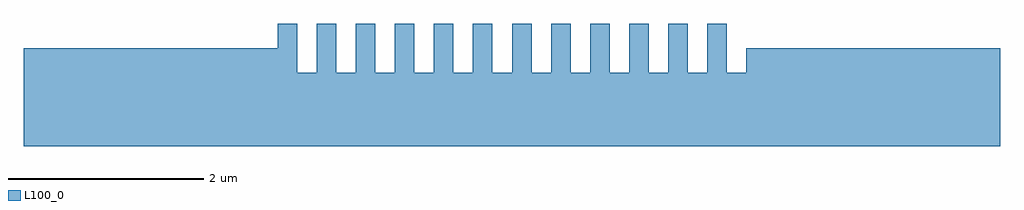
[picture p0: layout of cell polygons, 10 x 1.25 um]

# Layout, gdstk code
import gdstk
lib = gdstk.Library(unit=1e-6, precision=1e-09)
def R(c, l, rs):  # rectangles x0, y0, x1, y1
    for r in rs: c.add(gdstk.rectangle(r[:2], r[2:], *l))
def A(c, l, x, y, w, h, nx, ny, dx, dy):  # array of equal rectangles
    R(c, l, [(x+i*dx, y+j*dy, x+i*dx+w, y+j*dy+h) for i in range(nx) for j in range(ny)])
L100_0 = (100, 0)

polygons = lib.new_cell('polygons')
A(polygons, L100_0, -2.4, -0.75, 0.2, 1.25, 12, 1, 0.4, 0)
A(polygons, L100_0, -2.2, -0.75, 0.2, 0.75, 12, 1, 0.4, 0)
R(polygons, L100_0, [(-5,-0.75,-2.4,0.25), (2.4,-0.75,5,0.25)])

lib.write_gds('polygons.gds')
